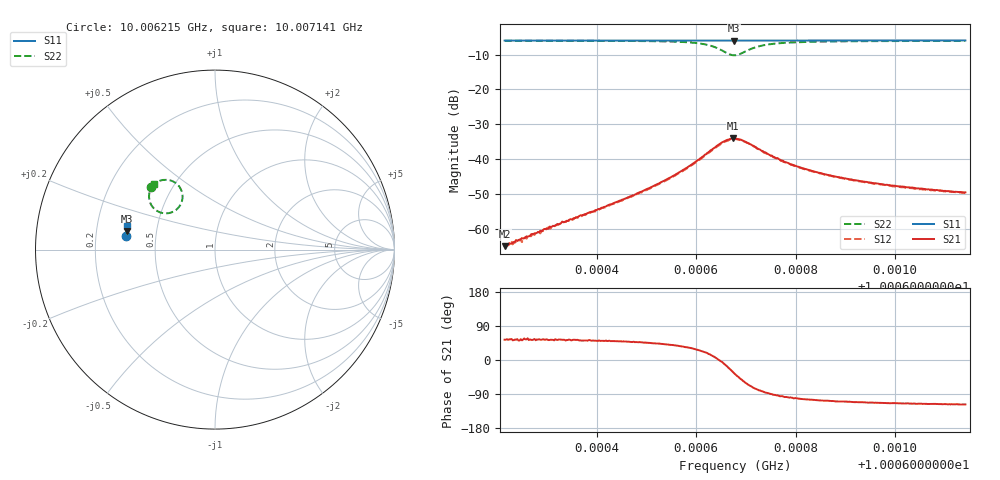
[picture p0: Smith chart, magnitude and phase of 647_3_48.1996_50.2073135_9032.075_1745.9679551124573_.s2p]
#  HZ  S  RI  R  50.00
! Rohde & Schwarz Vector Network Analyzer
! Rohde-Schwarz,ZNB20-2Port,1311601062101988,3.16
! Created: UTC 3/20/2024, 12:05:04 PM
! freq[Hz]  re:S11  im:S11  re:S21  im:S21  re:S12  im:S12  re:S22  im:S22
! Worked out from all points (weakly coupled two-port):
!   401 points, 10.006215 GHz to 10.007141 GHz, reference 50 ohm
!   highest |S21| = -34.08 dB at 10.006673 GHz (marker M1); lowest = -65.0 dB at 10.006215 GHz (marker M2)
!   lowest |S11| = -6.0 dB at 10.006676 GHz (marker M3), VSWR 3.02, Z = 16.7 + j4.6 ohm
!   |S11| at or under -10 dB: nowhere
!   |S22| runs from -10.2 to -6.0 dB; largest |S21 - S12| = 0.0015
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1.0006215e10  -0.498 0.074  0.000334 0.000452  0.000303 0.000493  -0.3559 0.3503
1.00062359e10  -0.4979 0.0754  0.000383 0.000526  0.000342 0.000533  -0.3544 0.352
1.00062567e10  -0.4977 0.0769  0.000436 0.00061  0.000413 0.000641  -0.3526 0.3536
1.00062868e10  -0.4975 0.0789  0.00056 0.000756  0.000462 0.000723  -0.3501 0.356
1.00062984e10  -0.4973 0.0796  0.000583 0.000813  0.000548 0.00081  -0.349 0.3571
1.000631e10  -0.4973 0.0802  0.000634 0.000856  0.000579 0.000859  -0.348 0.3582
1.00063702e10  -0.4967 0.0844  0.000981 0.00121  0.000892 0.00123  -0.3416 0.3636
1.00064743e10  -0.4956 0.0913  0.002 0.00224  0.00191 0.00226  -0.3242 0.3757
1.00065253e10  -0.4951 0.0945  0.00324 0.00306  0.00305 0.00317  -0.3088 0.3831
1.00065785e10  -0.4943 0.0982  0.00608 0.0041  0.00568 0.00433  -0.2776 0.389
1.00066225e10  -0.4933 0.101  0.0117 0.00386  0.0112 0.00424  -0.2248 0.3748
1.00066526e10  -0.4922 0.1026  0.0174 -0.00172  0.0168 -0.000862  -0.1822 0.3118
1.00066735e10  -0.4918 0.103  0.017 -0.0102  0.0172 -0.00884  -0.2015 0.2363
1.00066758e10  -0.4917 0.1029  0.0163 -0.0111  0.0168 -0.00968  -0.208 0.2294
1.00066781e10  -0.4917 0.1031  0.0158 -0.0119  0.0163 -0.0105  -0.2149 0.2229
1.00066989e10  -0.4921 0.104  0.00885 -0.0154  0.00984 -0.0146  -0.2871 0.2027
1.00067313e10  -0.4926 0.106  0.00181 -0.0131  0.00254 -0.0129  -0.3503 0.2412
1.0006773e10  -0.4925 0.1089  -0.000917 -0.00952  -0.000424 -0.00932  -0.3671 0.2851
1.00068332e10  -0.4919 0.1131  -0.00172 -0.00651  -0.00141 -0.00651  -0.365 0.3173
1.00069027e10  -0.491 0.1176  -0.00178 -0.00492  -0.0015 -0.00491  -0.3585 0.3362
1.00069883e10  -0.4897 0.123  -0.00173 -0.00386  -0.00148 -0.00388  -0.351 0.3498
1.00071411e10  -0.4877 0.1328  -0.00153 -0.00297  -0.00137 -0.00295  -0.3403 0.3647
